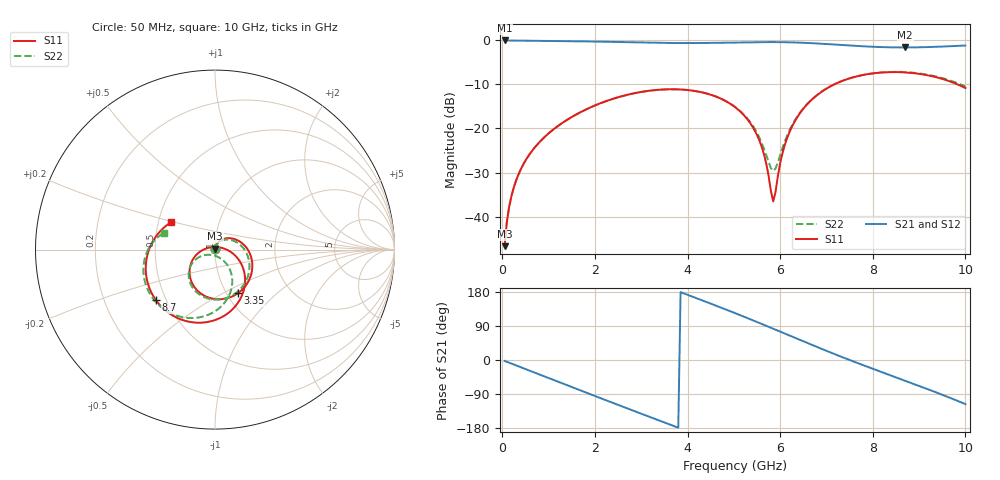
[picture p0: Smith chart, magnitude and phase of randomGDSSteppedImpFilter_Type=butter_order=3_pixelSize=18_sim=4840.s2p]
! freq	dB(S11)	phase(S11)	dB(S12)	phase(S12)
!  dB(S21)	phase(S21)	dB(S22)	phase(S22)
!S-par simulation data
#  GHz  S  DB  R 50
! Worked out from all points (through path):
!   200 points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, 50 MHz to 10 GHz, reference 50 ohm
!   highest |S21| = 0.00 dB at 50 MHz (marker M1); lowest = -1.6 dB at 8.7 GHz (marker M2)
!   group delay of S21, straight-line fit = 133 ps
!   lowest |S11| = -46.7 dB at 50 MHz (marker M3), VSWR 1.01, Z = 50.1 + j0.458 ohm
!   |S11| at or under -10 dB: start of sweep to 7.164 GHz; 9.833 GHz to end of sweep
!   |S22| runs from -46.7 to -7.1 dB; largest |S21 - S12| = 0
!   S11 on the Smith chart (normalised r, x): 50 MHz: 1.00, +0.01; 3.35 GHz: 1.12, -0.59; 8.7 GHz: 0.44, -0.31; 10 GHz: 0.58, +0.19
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0.05  -46.72 82.8  -0.00 -2.4  -0.00 -2.4  -46.73 82.8
0.1  -41.08 81.8  -0.01 -4.8  -0.01 -4.8  -41.07 81.2
0.2  -35.24 79.0  -0.02 -9.6  -0.02 -9.6  -35.25 77.6
0.5  -27.29 67.1  -0.04 -23.8  -0.04 -23.8  -27.30 63.8
1.15  -19.83 38.7  -0.11 -54.7  -0.11 -54.7  -19.83 32.1
1.75  -15.97 11.5  -0.20 -83.2  -0.20 -83.2  -15.99 2.7
2.5  -12.90 -23.2  -0.37 -118.5  -0.37 -118.5  -12.92 -33.0
3.35  -11.22 -62.6  -0.55 -157.9  -0.55 -157.9  -11.24 -71.9
3.4  -11.18 -64.9  -0.55 -160.2  -0.55 -160.2  -11.20 -74.1
4.2  -11.55 -102.4  -0.59 162.8  -0.59 162.8  -11.55 -109.2
5.05  -15.35 -144.8  -0.46 122.5  -0.46 122.5  -15.26 -144.1
5.55  -22.68 -176.2  -0.38 97.8  -0.38 97.8  -22.06 -154.3
5.7  -27.97 166.2  -0.37 90.2  -0.37 90.2  -26.10 -144.6
5.85  -36.56 91.8  -0.37 82.6  -0.37 82.6  -29.62 -104.6
6  -27.91 13.4  -0.38 74.9  -0.38 74.9  -26.06 -62.5
6.15  -22.19 -4.9  -0.41 67.2  -0.41 67.2  -21.64 -51.8
6.7  -13.28 -40.2  -0.63 39.2  -0.63 39.2  -13.24 -64.0
7.45  -8.78 -79.2  -1.12 2.4  -1.12 2.4  -8.77 -95.7
8.35  -7.20 -122.5  -1.56 -39.0  -1.56 -39.0  -7.16 -133.5
8.7  -7.26 -139.3  -1.59 -54.7  -1.59 -54.7  -7.19 -147.7
9.4  -8.44 -175.2  -1.43 -86.9  -1.43 -86.9  -8.27 -175.7
10  -10.81 148.0  -1.15 -116.3  -1.15 -116.3  -10.48 161.9
